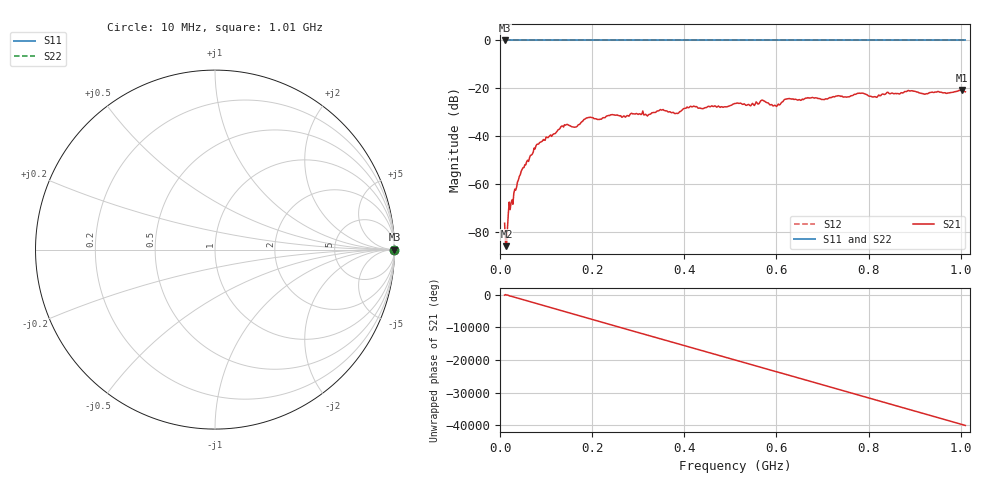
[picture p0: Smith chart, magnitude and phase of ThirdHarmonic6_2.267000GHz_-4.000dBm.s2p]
! 8/17/2025 2:50:21 AM
! C:\ANRITSUVNA\TEMP\TEMP.S2P
! CHANNEL.1
! TR.MEASUREMENT
! RAW.DATA
! RF.CORRECTION.OFF
! AVERAGING.OFF
! IF.BANDWIDTH: 5KHZ
! SWEEPTYPE:  FREQ.SWEEP(Linear)
! Reference Plane Port Info
! PORT:  PORT1  PORT2
! DISTANCE:  0  m  0  m
! TIME:  0  s  0  s
! PHASE.OFFSET:  0  deg.  0  deg.
! LOSS:  0  dB  0  dB
! REF.LOSS:  0  dB  0  dB
! REF.FREQ:  0  Hz  0  Hz
! Power Info
! POWER:  -20  dBm  -20  dBm
! EFF.POWER:  -20  dBm  -20  dBm
! SOURCE.ATTEN:  0  dB  0  dB
! TEST.ATTEN:  0  dB  0  dB
# GHZ S RI R 50.0
! FREQ.GHZ  S11RE  S11IM  S21RE  S21IM  S12RE  S12IM  S22RE  S22IM
!; PortSelection: Port_12
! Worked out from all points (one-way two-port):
!   501 points, 10 MHz to 1.01 GHz, reference 50 ohm
!   highest |S21| = -20.65 dB at 1.002 GHz (marker M1); lowest = -85.8 dB at 14 MHz (marker M2)
!   lowest |S11| = 0.0 dB at 10 MHz (marker M3)
!   |S11| at or under -10 dB: nowhere
!   |S22| runs from 0.0 to 0.0 dB; largest |S21 - S12| = 1.1
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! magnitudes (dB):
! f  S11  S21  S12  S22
! 10 MHz  0.0  -76.2  0.0  0.0
! 14 MHz  0.0  -85.8  0.0  0.0
! 22 MHz  0.0  -70.5  0.0  0.0
! 44 MHz  0.0  -56.0  0.0  0.0
! 78 MHz  0.0  -43.9  0.0  0.0
! 136 MHz  0.0  -35.7  0.0  0.0
! 164 MHz  0.0  -36.1  0.0  0.0
! 178 MHz  0.0  -33.9  0.0  0.0
! 192 MHz  0.0  -32.1  0.0  0.0
! 322 MHz  0.0  -31.0  0.0  0.0
! 344 MHz  0.0  -29.4  0.0  0.0
! 384 MHz  0.0  -30.4  0.0  0.0
! 416 MHz  0.0  -27.7  0.0  0.0
! 510 MHz  0.0  -26.3  0.0  0.0
! 570 MHz  0.0  -24.9  0.0  0.0
! 596 MHz  0.0  -27.0  0.0  0.0
! 622 MHz  0.0  -24.4  0.0  0.0
! 678 MHz  0.0  -23.8  0.0  0.0
! 814 MHz  0.0  -23.4  0.0  0.0
! 844 MHz  0.0  -22.0  0.0  0.0
! 1.002 GHz  0.0  -20.7  0.0  0.0
! 1.01 GHz  0.0  -21.4  0.0  0.0
